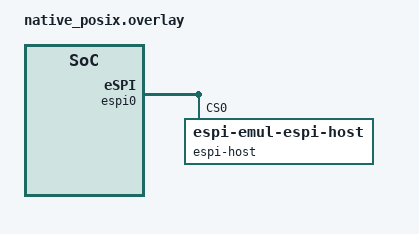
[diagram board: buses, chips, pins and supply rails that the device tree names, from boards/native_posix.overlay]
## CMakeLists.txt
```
# Copyright 2023 The ChromiumOS Authors
# Use of this source code is governed by a BSD-style license that can be
# found in the LICENSE file.

cmake_minimum_required(VERSION 3.13.1)
find_package(Zephyr REQUIRED HINTS "${ZEPHYR_BASE}")
project(amd)

add_subdirectory(${PLATFORM_EC}/zephyr/test/test_utils test_utils)

target_sources_ifdef(CONFIG_TEST_AMD_SB_RMI app PRIVATE src/sb_rmi.c)
target_sources_ifdef(CONFIG_TEST_AMD_STB_DUMP app PRIVATE src/stb_dump.c)
```

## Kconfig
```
# Copyright 2023 The ChromiumOS Authors
# Use of this source code is governed by a BSD-style license that can be
# found in the LICENSE file.

config TEST_AMD_SB_RMI
	bool "Enable SB-RMI tests"

config TEST_AMD_STB_DUMP
	bool "Enable STB dump test"
	select PLATFORM_EC_AMD_STB_DUMP

source "Kconfig.zephyr"
```

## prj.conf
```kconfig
# Copyright 2023 The ChromiumOS Authors
# Use of this source code is governed by a BSD-style license that can be
# found in the LICENSE file.

CONFIG_ASSERT=y
CONFIG_TEST=y
CONFIG_ZTEST=y
CONFIG_ZTEST_ASSERT_VERBOSE=1
CONFIG_ZTEST_MOCKING=y

CONFIG_INPUT=y

# Print logs from Zephyr LOG_MODULE to stdout
CONFIG_NATIVE_UART_0_ON_STDINOUT=y

# Enable debugging features
CONFIG_DEBUG=y
CONFIG_X86_DEBUG_INFO=y
CONFIG_DEBUG_OPTIMIZATIONS=y
CONFIG_PLATFORM_EC_CONSOLE_DEBUG=y
CONFIG_SHELL_BACKEND_DUMMY=y

CONFIG_CROS_EC=y
CONFIG_EMUL=y
CONFIG_FLASH=y
CONFIG_GPIO=y
CONFIG_GPIO_GET_CONFIG=y
CONFIG_PLATFORM_EC=y
CONFIG_RING_BUFFER=y
CONFIG_SERIAL=y
CONFIG_SHELL_BACKEND_DUMMY=y
CONFIG_SHELL_BACKEND_DUMMY_BUF_SIZE=2000
CONFIG_SHELL_BACKEND_SERIAL=n
CONFIG_SHIMMED_TASKS=y

CONFIG_ESPI=y
CONFIG_EMUL_ESPI_HOST=y
CONFIG_ESPI_PERIPHERAL_ACPI_SHM_REGION=y
CONFIG_ESPI_PERIPHERAL_CUSTOM_OPCODE=y
CONFIG_ESPI_PERIPHERAL_EC_HOST_CMD=y
CONFIG_PLATFORM_EC_HOSTCMD=y
CONFIG_PLATFORM_EC_CHIPSET_RESET_HOOK=y

# AMD power sequencing
CONFIG_AP_X86_AMD=y
CONFIG_PLATFORM_EC_AMD_STB_DUMP=y
CONFIG_PLATFORM_EC_CHIPSET_RESET_HOOK=y
CONFIG_PLATFORM_EC_EXTPOWER=y
CONFIG_PLATFORM_EC_EXTPOWER_GPIO=y
CONFIG_PLATFORM_EC_HOST_INTERFACE_ESPI=y
CONFIG_PLATFORM_EC_LID_SWITCH=y
CONFIG_PLATFORM_EC_POWERSEQ=y
CONFIG_PLATFORM_EC_POWERSEQ_S0IX=y
CONFIG_PLATFORM_EC_POWERSEQ_HOST_SLEEP=y
CONFIG_PLATFORM_EC_POWERSEQ_S0IX_COUNTER=y
CONFIG_PLATFORM_EC_POWERSEQ_RSMRST_DELAY=y
CONFIG_PLATFORM_EC_POWER_BUTTON=y
CONFIG_PLATFORM_EC_POWER_SLEEP_FAILURE_DETECTION=y
```

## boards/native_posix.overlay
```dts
/* Copyright 2023 The ChromiumOS Authors
 * Use of this source code is governed by a BSD-style license that can be
 * found in the LICENSE file.
 */

#include <board-overlays/native_posix.dts>
#include <dt-bindings/gpio_defines.h>

/ {
	named-gpios {
		compatible = "named-gpios";

		/* STB dumping GPIOs */
		gpio_ec_sfh_int_h: ec_sfh_int_h {
			gpios = <&gpio0 0 GPIO_OUTPUT_LOW>;
		};
		gpio_sfh_ec_int_h: sfh_ec_int_h {
			gpios = <&gpio0 1 GPIO_INPUT>;
		};

		gpio_ap_ec_int_l: ap_ec_int_l {
			gpios = <&gpio0 18 GPIO_OUTPUT_HIGH>;
			enum-name = "GPIO_EC_INT_L";
		};
	};

	gpio-interrupts {
		compatible = "cros-ec,gpio-interrupts";

		int_stb_dump: stb_dump {
			irq-pin = <&gpio_sfh_ec_int_h>;
			flags = <GPIO_INT_EDGE_RISING>;
			handler = "amd_stb_dump_interrupt";
		};
	};
};

&gpio0 {
<<<<<<< HEAD   (8b614f zephyr: Add Kconfig PLATFORM_EC_EMULATED_SYSRQ)
	ngpios = <2>;
};
=======
	ngpios = <19>;
};

&espi0 {
	espi-host@0 {
		status = "okay";
		compatible = "zephyr,espi-emul-espi-host";
		reg = <0x0>;
	};
};
>>>>>>> CHANGE (f0a4dc zephyr: Enable emulated SysRq testing)
```

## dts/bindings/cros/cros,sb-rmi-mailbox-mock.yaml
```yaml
description: AMD side-band remote management interface

compatible: "cros,sb-rmi-mailbox-mock"

include: amd,sb-rmi-mailbox-base.yaml
```

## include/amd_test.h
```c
/* Copyright 2023 The ChromiumOS Authors
 * Use of this source code is governed by a BSD-style license that can be
 * found in the LICENSE file.
 */

#include <zephyr/devicetree.h>

/* All emulated GPIOS are on one device */
#define GPIO_DEVICE \
	DEVICE_DT_GET(DT_GPIO_CTLR(NAMED_GPIOS_GPIO_NODE(s0_pgood), gpios))
#define SLP_S3_PIN DT_GPIO_PIN(NAMED_GPIOS_GPIO_NODE(slp_s3_l), gpios)
#define SLP_S5_PIN DT_GPIO_PIN(NAMED_GPIOS_GPIO_NODE(slp_s5_l), gpios)
#define PGOOD_S0_PIN DT_GPIO_PIN(NAMED_GPIOS_GPIO_NODE(s0_pgood), gpios)
#define PGOOD_S5_PIN DT_GPIO_PIN(NAMED_GPIOS_GPIO_NODE(pg_pwr_s5), gpios)
#define PWRBTN_IN_PIN \
	DT_GPIO_PIN(NAMED_GPIOS_GPIO_NODE(mech_pwr_btn_odl), gpios)
#define PWRBTN_OUT_PIN \
	DT_GPIO_PIN(NAMED_GPIOS_GPIO_NODE(ec_soc_pwr_btn_l), gpios)
#define PROCHOT_PIN DT_GPIO_PIN(NAMED_GPIOS_GPIO_NODE(prochot_odl), gpios)
#define LID_PIN DT_GPIO_PIN(NAMED_GPIOS_GPIO_NODE(lid_open_ec), gpios)
#define STB_OUT_PIN DT_GPIO_PIN(NAMED_GPIOS_GPIO_NODE(ec_sfh_int_h), gpios)
```

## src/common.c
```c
/* Copyright 2023 The ChromiumOS Authors
 * Use of this source code is governed by a BSD-style license that can be
 * found in the LICENSE file.
 */

#include "amd_test.h"
#include "atomic_t.h"
#include "emul/emul_stub_device.h"
#include "power.h"
#include "power/amd_x86.h"

/*
 * Provide standard array of power signals for the module based on our DTS enum
 * names we filled in
 */
const struct power_signal_info power_signal_list[] = {
	[X86_SLP_S3_N] = {
		.gpio = GPIO_PCH_SLP_S3_L,
		.flags = POWER_SIGNAL_ACTIVE_HIGH,
		.name = "SLP_S3_DEASSERTED",
	},
	[X86_SLP_S5_N] = {
		.gpio = GPIO_PCH_SLP_S5_L,
		.flags = POWER_SIGNAL_ACTIVE_HIGH,
		.name = "SLP_S5_DEASSERTED",
	},
	[X86_S0_PGOOD] = {
		.gpio = GPIO_S0_PGOOD,
		.flags = POWER_SIGNAL_ACTIVE_HIGH,
		.name = "S0_PGOOD",
	},
	[X86_S5_PGOOD] = {
		.gpio = GPIO_S5_PGOOD,
		.flags = POWER_SIGNAL_ACTIVE_HIGH,
		.name = "S5_PGOOD",
	},
};
BUILD_ASSERT(ARRAY_SIZE(power_signal_list) == POWER_SIGNAL_COUNT);

/* These 2 lines are needed because we don't define an espi host driver */
#define DT_DRV_COMPAT zephyr_espi_emul_espi_host
DT_INST_FOREACH_STATUS_OKAY(EMUL_STUB_DEVICE);
```

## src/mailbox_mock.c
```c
/* Copyright 2023 The ChromiumOS Authors
 * Use of this source code is governed by a BSD-style license that can be
 * found in the LICENSE file.
 */

#include "emul/emul_amd_sb_rmi.h"
#include "emul/emul_stub_device.h"
#include "driver/sb_rmi.h"

#define DT_DRV_COMPAT cros_sb_rmi_mailbox_mock

static int amd_sb_rmi_mailbox_mock_handle_command(const struct emul *emul, uint8_t cmd, uint32_t in_data, uint32_t *out_data)
{
    *out_data = in_data;
    return SB_RMI_MAILBOX_SUCCESS;
}

static struct amd_sb_rmi_mailbox_emul *amd_sb_rmi_mailbox_mock_get_emul(const struct emul *emul)
{
    return emul->data;
}

const struct amd_sb_rmi_mailbox_emul_cfg *amd_sb_rmi_mailbox_mock_get_config(const struct emul *emul)
{
	return emul->cfg;
}

const static struct amd_sb_rmi_mailbox_emul_api amd_sb_rmi_mailbox_mock_api = {
    .handle_command = amd_sb_rmi_mailbox_mock_handle_command,
    .get_mailbox_emul = amd_sb_rmi_mailbox_mock_get_emul,
    .get_config = amd_sb_rmi_mailbox_mock_get_config,
};

static int amd_sb_rmi_mailbox_mock_init(const struct emul *emul,
			     const struct device *parent)
{
	struct amd_sb_rmi_mailbox_emul *mailbox = emul->data;

	mailbox->target = emul;
	mailbox->api = &amd_sb_rmi_mailbox_mock_api;
	return 0;
}

#define AMD_SB_RMI_MAILBOX_MOCK(n) \
	static const struct amd_sb_rmi_mailbox_emul_cfg \
		amd_sb_rmi_mailbox_emul_mock_cfg_##n = { \
		.commands = NULL, \
		.num_commands = 0, \
	}; \
	static struct amd_sb_rmi_mailbox_emul amd_sb_rmi_mailbox_emul_mock_##n; \
	AMD_SB_RMI_MAILBOX_EMUL_DT_INST_DEFINE(n, amd_sb_rmi_mailbox_mock_init, \
			&amd_sb_rmi_mailbox_emul_mock_##n, \
			&amd_sb_rmi_mailbox_emul_mock_cfg_##n, \
			&amd_sb_rmi_mailbox_mock_api) 

DT_INST_FOREACH_STATUS_OKAY(AMD_SB_RMI_MAILBOX_MOCK)
DT_INST_FOREACH_STATUS_OKAY(EMUL_STUB_DEVICE)
```

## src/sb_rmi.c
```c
/* Copyright 2023 The ChromiumOS Authors
 * Use of this source code is governed by a BSD-style license that can be
 * found in the LICENSE file.
 */

#include "emul/emul_amd_sb_rmi.h"
#include "driver/sb_rmi.h"

#include <zephyr/devicetree.h>
#include <zephyr/fff.h>
#include <zephyr/ztest.h>

#define AMD_SB_RMI_EMUL EMUL_DT_GET(DT_NODELABEL(sb_rmi_emul))

int sb_rmi_write(const int reg, int data);
int sb_rmi_read(const int reg, int *data);
int sb_rmi_assert_interrupt(bool assert);

/* Helper functions to make tests clearer. */
static int amd_sb_rmi_emul_test_get_reg(int reg, uint8_t *val)
{
	return amd_sb_rmi_emul_get_reg(AMD_SB_RMI_EMUL, reg, val);
}

static int amd_sb_rmi_emul_test_set_reg(int reg, uint8_t val)
{
	return amd_sb_rmi_emul_set_reg(AMD_SB_RMI_EMUL, reg, val);
}

ZTEST_SUITE(sb_rmi, NULL, NULL, NULL, NULL, NULL);

/* Verify that the reset values for all registers are correct. */
ZTEST(sb_rmi, test_emul_reset)
{
	uint8_t val;
	int rv;

	/* All currently implemented registers are zero at reset. */
	/* In-bound registers. */
	rv = amd_sb_rmi_emul_test_get_reg(SB_RMI_IN_BND_MSG0_REG, &val);
	zexpect_ok(rv);
	zexpect_equal(val, 0);

	rv = amd_sb_rmi_emul_test_get_reg(SB_RMI_IN_BND_MSG1_REG, &val);
	zexpect_ok(rv);
	zexpect_equal(val, 0);

	rv = amd_sb_rmi_emul_test_get_reg(SB_RMI_IN_BND_MSG2_REG, &val);
	zexpect_ok(rv);
	zexpect_equal(val, 0);

	rv = amd_sb_rmi_emul_test_get_reg(SB_RMI_IN_BND_MSG3_REG, &val);
	zexpect_ok(rv);
	zexpect_equal(val, 0);

	rv = amd_sb_rmi_emul_test_get_reg(SB_RMI_IN_BND_MSG4_REG, &val);
	zexpect_ok(rv);
	zexpect_equal(val, 0);

	rv = amd_sb_rmi_emul_test_get_reg(SB_RMI_IN_BND_MSG5_REG, &val);
	zexpect_ok(rv);
	zexpect_equal(val, 0);

	rv = amd_sb_rmi_emul_test_get_reg(SB_RMI_IN_BND_MSG6_REG, &val);
	zexpect_ok(rv);
	zexpect_equal(val, 0);

	rv = amd_sb_rmi_emul_test_get_reg(SB_RMI_IN_BND_MSG7_REG, &val);
	zexpect_ok(rv);
	zexpect_equal(val, 0);

	/* Out-bound registers. */
	rv = amd_sb_rmi_emul_test_get_reg(SB_RMI_OUT_BND_MSG0_REG, &val);
	zexpect_ok(rv);
	zexpect_equal(val, 0);

	rv = amd_sb_rmi_emul_test_get_reg(SB_RMI_OUT_BND_MSG1_REG, &val);
	zexpect_ok(rv);
	zexpect_equal(val, 0);

	rv = amd_sb_rmi_emul_test_get_reg(SB_RMI_OUT_BND_MSG2_REG, &val);
	zexpect_ok(rv);
	zexpect_equal(val, 0);

	rv = amd_sb_rmi_emul_test_get_reg(SB_RMI_OUT_BND_MSG3_REG, &val);
	zexpect_ok(rv);
	zexpect_equal(val, 0);

	rv = amd_sb_rmi_emul_test_get_reg(SB_RMI_OUT_BND_MSG4_REG, &val);
	zexpect_ok(rv);
	zexpect_equal(val, 0);

	rv = amd_sb_rmi_emul_test_get_reg(SB_RMI_OUT_BND_MSG5_REG, &val);
	zexpect_ok(rv);
	zexpect_equal(val, 0);

	rv = amd_sb_rmi_emul_test_get_reg(SB_RMI_OUT_BND_MSG6_REG, &val);
	zexpect_ok(rv);
	zexpect_equal(val, 0);

	rv = amd_sb_rmi_emul_test_get_reg(SB_RMI_OUT_BND_MSG7_REG, &val);
	zexpect_ok(rv);
	zexpect_equal(val, 0);

	/* Status and control registers. */
	rv = amd_sb_rmi_emul_test_get_reg(SB_RMI_STATUS_REG, &val);
	zexpect_ok(rv);
	zexpect_equal(val, 0);

	rv = amd_sb_rmi_emul_test_get_reg(SB_RMI_SW_INTR_REG, &val);
	zexpect_ok(rv);
	zexpect_equal(val, 0);
}

/* Validate that accessing the emulator's registers through I2C works. */
ZTEST(sb_rmi, test_emul_registers_rw)
{
	int rv;
	int val;

	/* Ensure that reading/writing a non-existent register fails. */
	rv = sb_rmi_read(0xff, &val);
	zexpect_not_equal(rv, 0);

	rv = sb_rmi_write(0xff, 0xff);
	zexpect_not_equal(rv, 0);
}

/* Validates that writing to a reserved register returns an error. */
ZTEST(sb_rmi, test_emul_reserved)
{
	int rv;

	/* In-bound registers. */
	rv = amd_sb_rmi_emul_test_set_reg(SB_RMI_IN_BND_MSG5_REG,
					  SB_RMI_IN_BND_MSG5_REG_RESERVED);
	zexpect_not_equal(rv, 0);

	rv = amd_sb_rmi_emul_test_set_reg(SB_RMI_IN_BND_MSG6_REG,
					  SB_RMI_IN_BND_MSG6_REG_RESERVED);
	zexpect_not_equal(rv, 0);

	/* Out-bound registers. */
	rv = amd_sb_rmi_emul_test_set_reg(SB_RMI_OUT_BND_MSG5_REG,
					  SB_RMI_OUT_BND_MSG5_REG_RESERVED);
	zexpect_not_equal(rv, 0);

	rv = amd_sb_rmi_emul_test_set_reg(SB_RMI_OUT_BND_MSG6_REG,
					  SB_RMI_OUT_BND_MSG6_REG_RESERVED);
	zexpect_not_equal(rv, 0);

	/* Status and control registers. */
	rv = amd_sb_rmi_emul_test_set_reg(SB_RMI_STATUS_REG,
					  SB_RMI_STATUS_REG_RESERVED);
	zexpect_not_equal(rv, 0);

	rv = amd_sb_rmi_emul_test_set_reg(SB_RMI_SW_INTR_REG,
					  SB_RMI_SW_INTR_REG_RESERVED);
	zexpect_not_equal(rv, 0);
}
```

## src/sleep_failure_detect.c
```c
/* Copyright 2023 The ChromiumOS Authors
 * Use of this source code is governed by a BSD-style license that can be
 * found in the LICENSE file.
 */

#include "power.h"

#include <zephyr/fff.h>
#include <zephyr/ztest.h>

FAKE_VOID_FUNC(chipset_reset, enum chipset_shutdown_reason);
FAKE_VOID_FUNC(chipset_force_shutdown, enum chipset_shutdown_reason);

void reset_hang_counters(void);

static void before(void *fixture)
{
	ARG_UNUSED(fixture);

	RESET_FAKE(chipset_reset);
	RESET_FAKE(chipset_force_shutdown);

	reset_hang_counters();
}

ZTEST_SUITE(sleep_failure_detect, NULL, NULL, before, NULL, NULL);

static void run_sleep_failure_detect(enum sleep_hang_type hang_type)
{
	/* After a timeout the EC will attempt to reset the AP. */
	power_board_handle_sleep_hang(hang_type);
	k_msleep(CONFIG_POWER_SLEEP_FAILURE_DETECTION_RESET_MS);
	/* Additional time to make sure the timeout code has run. */
	k_msleep(100);
	zassert_equal(chipset_reset_fake.call_count, 1);
	zassert_equal(chipset_reset_fake.arg0_val, CHIPSET_RESET_HANG_REBOOT);

	/*
	 * If the AP still hasn't reset aften the timeout then the EC will
	 * perform a shutdown.
	 */
	k_msleep(CONFIG_POWER_SLEEP_FAILURE_DETECTION_RESET_MS);
	/* Additional time to make sure the timeout code has run. */
	k_msleep(100);
	zassert_equal(chipset_force_shutdown_fake.call_count, 1);
	zassert_equal(chipset_force_shutdown_fake.arg0_val,
		      CHIPSET_SHUTDOWN_BOARD_CUSTOM);
}

ZTEST(sleep_failure_detect, test_suspend)
{
	run_sleep_failure_detect(SLEEP_HANG_S0IX_SUSPEND);
}

ZTEST(sleep_failure_detect, test_resume)
{
	run_sleep_failure_detect(SLEEP_HANG_S0IX_RESUME);
}
```

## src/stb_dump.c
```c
/* Copyright 2023 The ChromiumOS Authors
 * Use of this source code is governed by a BSD-style license that can be
 * found in the LICENSE file.
 */
#include <zephyr/devicetree.h>
#include <zephyr/drivers/gpio.h>
#include <zephyr/drivers/gpio/gpio_emul.h>
#include <zephyr/fff.h>
#include <zephyr/ztest.h>

#include <drivers/amd_stb.h>
#include <gpio.h>
#include <gpio/gpio_int.h>

ZTEST_SUITE(stb_dump, NULL, NULL, NULL, NULL, NULL);

ZTEST(stb_dump, test_stb_dump)
{
	const struct gpio_dt_spec *ec_sfh_int =
		GPIO_DT_FROM_NODELABEL(gpio_ec_sfh_int_h);
	const struct gpio_dt_spec *sfh_ec_int =
		GPIO_DT_FROM_NODELABEL(gpio_sfh_ec_int_h);
	int rv;

	gpio_enable_dt_interrupt(GPIO_INT_FROM_NODELABEL(int_stb_dump));
	amd_stb_dump_init(ec_sfh_int, sfh_ec_int);

	amd_stb_dump_trigger();
	rv = gpio_emul_output_get(ec_sfh_int->port, ec_sfh_int->pin);
	zassert_equal(rv, 1);
	zassert_true(amd_stb_dump_in_progress());

	rv = gpio_emul_input_set(sfh_ec_int->port, sfh_ec_int->pin, true);
	zassert_ok(rv);
	/* Give the interrupt handler plenty of time to run. */
	k_msleep(10);
	zassert_false(amd_stb_dump_in_progress());
	rv = gpio_emul_output_get(ec_sfh_int->port, ec_sfh_int->pin);
	zassert_equal(rv, 0);
}
```
